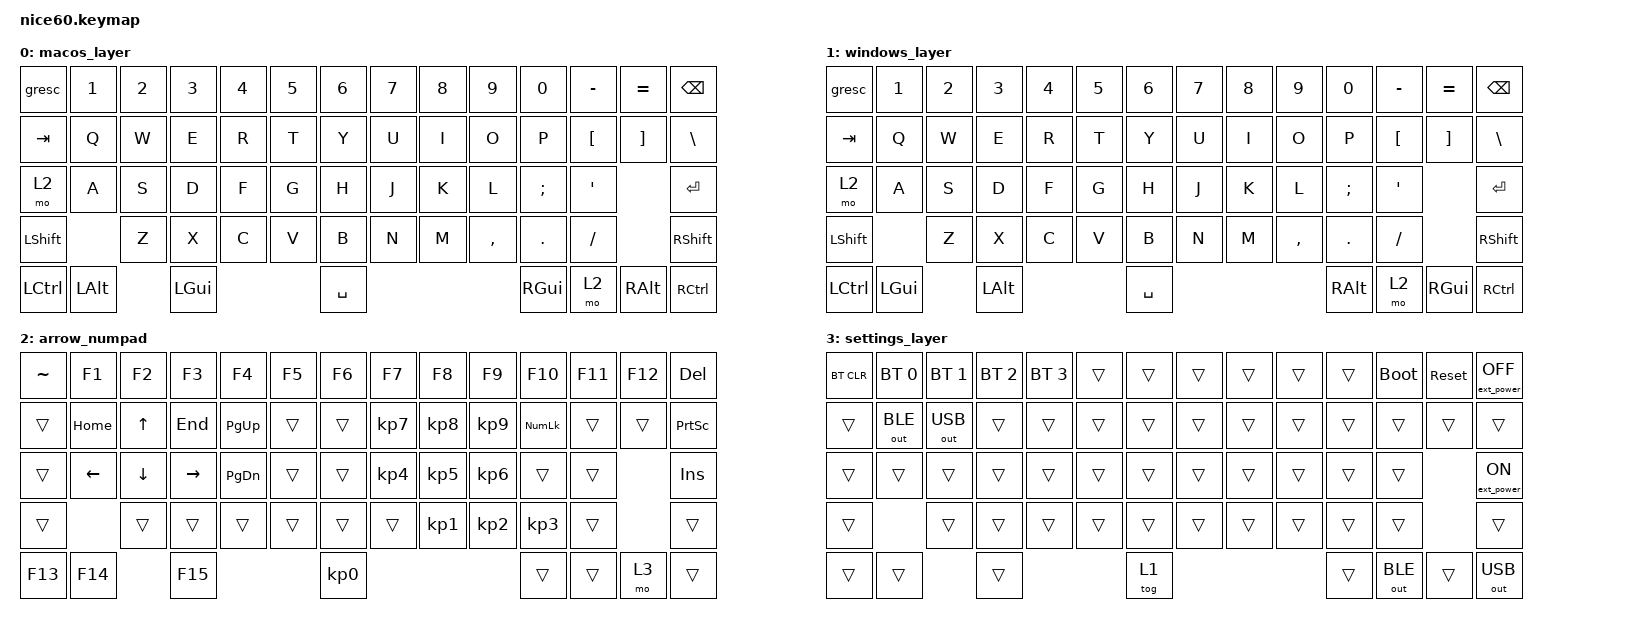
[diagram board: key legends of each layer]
/*
 * Copyright (c) 2021 Nick Winans
 *
 * SPDX-License-Identifier: MIT
 */

#include <dt-bindings/zmk/reset.h>
#include <behaviors.dtsi>
#include <dt-bindings/zmk/bt.h>
#include <dt-bindings/zmk/ext_power.h>
#include <dt-bindings/zmk/keys.h>
#include <dt-bindings/zmk/outputs.h>

/ {
    keymap {
        compatible = "zmk,keymap";

        macos_layer {
            // ------------------------------------------------------------------------------------------
            // | ESC |  1  |  2  |  3  |  4  |  5  |  6  |  7  |  8  |  9  |  0  |  -  |  =  |   BKSP   |
            // | TAB  |  Q  |  W  |  E  |  R  |  T  |  Y  |  U  |  I  |  O  |  P  |  [  |  ]  |   "|"   |
            // | MO(1) |  A  |  S  |  D  |  F  |  G  |  H  |  J  |  K  |  L  |  ;  |  '  |     ENTER    |
            // |  SHIFT  |  Z  |  X  |  C  |  V  |  B  |  N  |  M  |  ,  |  .  |  /  |      SHIFT       |
            // |  CTL  |  ALT  |  WIN  |            SPACE              |  WIN  |  MO(1) |  ALT  |  CTL  |
            // ------------------------------------------------------------------------------------------

            bindings = <
&gresc     &kp N1    &kp N2  &kp N3    &kp N4  &kp N5  &kp N6     &kp N7  &kp N8  &kp N9     &kp N0    &kp MINUS  &kp EQUAL    &kp BSPC
&kp TAB    &kp Q     &kp W   &kp E     &kp R   &kp T   &kp Y      &kp U   &kp I   &kp O      &kp P     &kp LBKT   &kp RBKT     &kp BSLH
&mo 2      &kp A     &kp S   &kp D     &kp F   &kp G   &kp H      &kp J   &kp K   &kp L      &kp SEMI  &kp SQT                 &kp RET
&kp LSHFT            &kp Z   &kp X     &kp C   &kp V   &kp B      &kp N   &kp M   &kp COMMA  &kp DOT   &kp FSLH                &kp RSHFT
&kp LCTRL  &kp LALT          &kp LGUI                  &kp SPACE                             &kp RGUI  &mo 2      &kp RALT     &kp RCTRL
            >;
        };

        windows_layer {
            bindings = <
&gresc     &kp NUMBER_1  &kp NUMBER_2  &kp N3    &kp N4  &kp N5  &kp N6     &kp N7  &kp N8  &kp N9     &kp N0         &kp MINUS  &kp EQUAL            &kp BSPC
&kp TAB    &kp Q         &kp W         &kp E     &kp R   &kp T   &kp Y      &kp U   &kp I   &kp O      &kp P          &kp LBKT   &kp RIGHT_BRACKET    &kp BSLH
&mo 2      &kp A         &kp S         &kp D     &kp F   &kp G   &kp H      &kp J   &kp K   &kp L      &kp SEMI       &kp SQT                         &kp RET
&kp LSHFT                &kp Z         &kp X     &kp C   &kp V   &kp B      &kp N   &kp M   &kp COMMA  &kp DOT        &kp FSLH                        &kp RSHFT
&kp LCTRL  &kp LEFT_GUI                &kp LALT                  &kp SPACE                             &kp RIGHT_ALT  &mo 2      &kp RIGHT_GUI        &kp RCTRL
            >;
        };

        arrow_numpad {
            // ------------------------------------------------------------------------------------------------
            // |        | F1  | F2  | F3  | F4  | F5  | F6  | F7  | F8  | F9  | F10  | F11 | F12 |      DEL   |
            // |         | HM  |  UP |  ED  |  PG_UP  |       |       |   7  |  8  |  9  |    |    |    |     |
            // |          | LT |  DN  | RT |  PG_DN   |       |       | 4    |  5   |  6  |   |     |         |
            // |             |     |      |      |     |     |     |  1   |   2  |   3  |     |               |
            // |         |      |      |                 0                  |        |       |  MO(2) |       |
            // ------------------------------------------------------------------------------------------------

            bindings = <
&kp TILDE  &kp F1    &kp F2    &kp F3     &kp F4     &kp F5  &kp F6     &kp F7     &kp F8     &kp F9     &kp F10     &kp F11  &kp F12    &kp DEL
&trans     &kp HOME  &kp UP    &kp END    &kp PG_UP  &trans  &trans     &kp KP_N7  &kp KP_N8  &kp KP_N9  &kp KP_NUM  &trans   &trans     &kp PRINTSCREEN
&trans     &kp LEFT  &kp DOWN  &kp RIGHT  &kp PG_DN  &trans  &trans     &kp KP_N4  &kp KP_N5  &kp KP_N6  &trans      &trans              &kp INSERT
&trans               &trans    &trans     &trans     &trans  &trans     &trans     &kp KP_N1  &kp KP_N2  &kp KP_N3   &trans              &trans
&kp F13    &kp F14             &kp F15                       &kp KP_N0                                   &trans      &trans   &mo 3      &trans
            >;
        };

        settings_layer {
            //  ---------------------------------------------------------------------------------------------------------------------------------------------------------------------------------------
            //  | BT_CLR     | BT_0       | BT_1       | BT_2       | BT_3       |            |            |            |            |            |            | BOOTLOADER | RESET      | PO_OFF     |
            //  |            |            |            |            |            |            |            |            |            |            |            |            |            |            |
            //  |            |            |            |            |            |            |            |            |            |            |            |            | PO_ON                   |
            //  |                         |            |            |            |            |            |            |            |            |            |            |                         |
            //  |            |            |            |                                                                                          |            | OUT_BLE    |            | OUT_USB    |
            //  ---------------------------------------------------------------------------------------------------------------------------------------------------------------------------------------

            bindings = <
&bt BT_CLR  &bt BT_SEL 0  &bt BT_SEL 1  &bt BT_SEL 2  &bt BT_SEL 3  &trans  &trans  &trans  &trans  &trans  &trans  &bootloader   &sys_reset    &ext_power EP_OFF
&trans      &out OUT_BLE  &out OUT_USB  &trans        &trans        &trans  &trans  &trans  &trans  &trans  &trans  &trans        &trans        &trans
&trans      &trans        &trans        &trans        &trans        &trans  &trans  &trans  &trans  &trans  &trans  &trans                      &ext_power EP_ON
&trans                    &trans        &trans        &trans        &trans  &trans  &trans  &trans  &trans  &trans  &trans                      &trans
&trans      &trans                      &trans                              &tog 1                          &trans  &out OUT_BLE  &trans        &out OUT_USB
            >;
        };
    };
};

/ {
    combos {
        compatible = "zmk,combos";

        combo_esc {
            timeout-ms = <50>;
            key-positions = <1 56>;
            bindings = <&kp LG(ESC)>;
        };
    };
};
